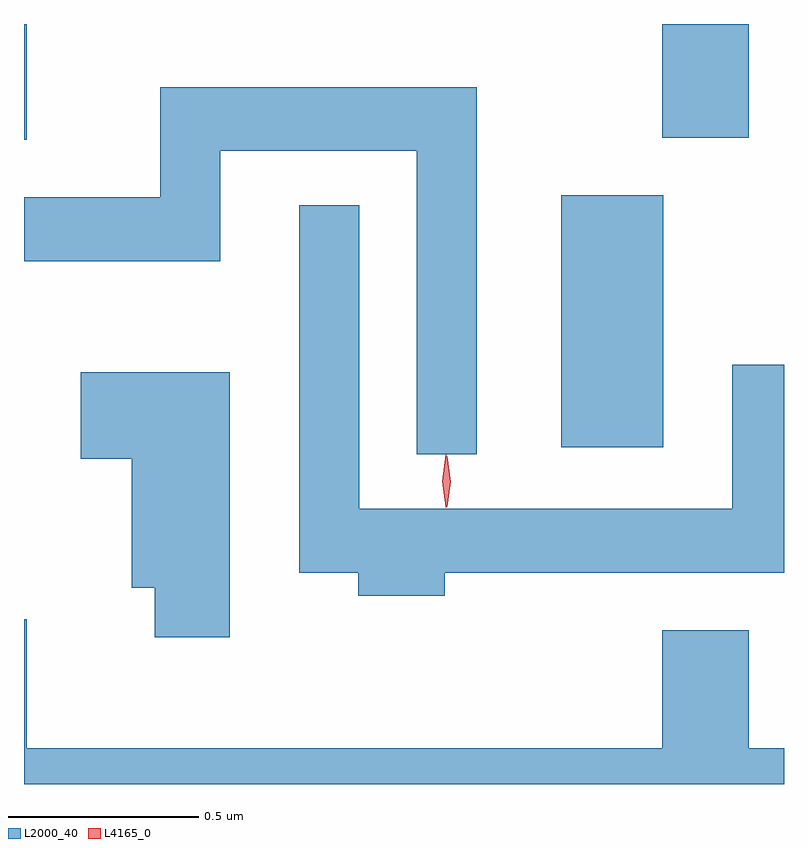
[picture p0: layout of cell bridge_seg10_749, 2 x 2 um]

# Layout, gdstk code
import gdstk
lib = gdstk.Library(unit=1e-6, precision=1e-09)
def R(c, l, rs):  # rectangles x0, y0, x1, y1
    for r in rs: c.add(gdstk.rectangle(r[:2], r[2:], *l))
def P(c, l, *ps):  # polygons
    for p in ps: c.add(gdstk.Polygon(p, *l))
L2000_40 = (2000, 40)
L4165_0 = (4165, 0)

bridge_seg10_749 = lib.new_cell('bridge_seg10_749')
R(bridge_seg10_749, L2000_40, [(897.536,2134.956,897.804,2135.619), (896.122,2135.766,896.129,2136.07), (897.801,2135.771,898.029,2136.07)])
P(bridge_seg10_749, L2000_40, [(897.314,2135.904),(896.481,2135.904),(896.481,2135.614),(896.122,2135.614),(896.122,2135.446),(896.639,2135.446),(896.639,2135.736),(897.156,2135.736),(897.156,2134.938),(897.314,2134.938)],
  [(897.229,2134.626),(898.122,2134.626),(898.122,2135.173),(897.986,2135.173),(897.986,2134.794),(897.004,2134.794),(897.004,2135.593),(896.846,2135.593),(896.846,2134.626),(897.001,2134.626),(897.001,2134.566),(897.229,2134.566)],
  [(896.664,2135.154),(896.271,2135.154),(896.271,2134.926),(896.406,2134.926),(896.406,2134.586),(896.466,2134.586),(896.466,2134.456),(896.664,2134.456)],
  [(898.122,2134.164),(898.029,2134.164),(898.029,2134.474),(897.801,2134.474),(897.801,2134.164),(896.129,2134.164),(896.129,2134.504),(896.122,2134.504),(896.122,2134.07),(898.122,2134.07)])
P(bridge_seg10_749, L4165_0, [(897.235,2134.8),(897.235,2134.8),(897.225,2134.866),(897.235,2134.932),(897.235,2134.933),(897.236,2134.932),(897.245,2134.866),(897.236,2134.8)],
  [(897.233,2134.797),(897.232,2134.798),(897.223,2134.867),(897.232,2134.936),(897.233,2134.936),(897.233,2134.936),(897.243,2134.867),(897.233,2134.798)])

lib.write_gds('bridge_seg10_749.gds')
